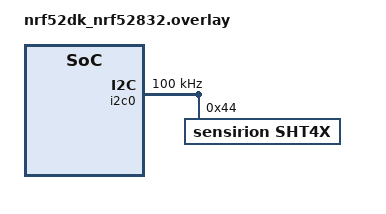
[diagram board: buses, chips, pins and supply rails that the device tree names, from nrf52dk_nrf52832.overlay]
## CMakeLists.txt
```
cmake_minimum_required(VERSION 3.20.0)
find_package(Zephyr REQUIRED HINTS $ENV{ZEPHYR_BASE})

project(FOTA_SHT40)

target_sources(app PRIVATE src/main.c)
target_sources(app PRIVATE src/main.c src/sht40_sensor.c)
```

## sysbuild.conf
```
# STEP 2.1 Enable MCUboot
SB_CONFIG_BOOTLOADER_MCUBOOT=y
```

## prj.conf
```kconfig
CONFIG_NCS_SAMPLES_DEFAULTS=y

CONFIG_BT=y
CONFIG_BT_PERIPHERAL=y
CONFIG_BT_DEVICE_NAME="FOTA_SHT40"

# Enable the LBS service
CONFIG_BT_LBS=y
CONFIG_BT_LBS_POLL_BUTTON=y
CONFIG_DK_LIBRARY=y

CONFIG_SYSTEM_WORKQUEUE_STACK_SIZE=2048
CONFIG_NCS_SAMPLE_MCUMGR_BT_OTA_DFU=y

CONFIG_CBPRINTF_FP_SUPPORT=y
CONFIG_I2C=y
CONFIG_SENSOR=y
CONFIG_SHT4X=y
```

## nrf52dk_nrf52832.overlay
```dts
&i2c0 {
    compatible = "nordic,nrf-twim"; // Ensure this matches the I2C peripheral on your Nordic SoC
    status = "okay";
    clock-frequency = <I2C_BITRATE_STANDARD>; // Set the I2C bus speed to standard rate (100 kHz)

    sht4x@44 {  // Node for the SHT4x sensor with I2C address 0x44
        compatible = "sensirion,sht4x"; // SHT4x sensor compatible string
        reg = <0x44>;                   // I2C address of the SHT4x sensor
        label = "SHT4X";                // Optional label for the sensor
        status = "okay";                // Enable the sensor
        repeatability = <2>;            // Sensor repeatability setting (if applicable)
    };
};
```

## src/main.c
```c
#include <zephyr/kernel.h>
#include <zephyr/sys/printk.h>
#include <zephyr/device.h>
#include <zephyr/drivers/gpio.h>

#include <zephyr/bluetooth/bluetooth.h>
#include <zephyr/bluetooth/hci.h>
#include <zephyr/bluetooth/conn.h>
#include <zephyr/bluetooth/gatt.h>

#include <zephyr/settings/settings.h>
#include <dk_buttons_and_leds.h>
#include "sht40_sensor.h"

#define CON_STATUS_LED DK_LED2

#define DEVICE_NAME CONFIG_BT_DEVICE_NAME
#define DEVICE_NAME_LEN (sizeof(DEVICE_NAME) - 1)

static const struct bt_data ad[] = {
    BT_DATA_BYTES(BT_DATA_FLAGS, (BT_LE_AD_GENERAL | BT_LE_AD_NO_BREDR)),
    BT_DATA(BT_DATA_NAME_COMPLETE, DEVICE_NAME, DEVICE_NAME_LEN),
};

static void connected(struct bt_conn *conn, uint8_t err)
{
    if (err)
    {
        printk("Connection failed (err %u)\n", err);
        return;
    }

    printk("Connected\n");
    dk_set_led_on(CON_STATUS_LED);
}

static void disconnected(struct bt_conn *conn, uint8_t reason)
{
    printk("Disconnected (reason %u)\n", reason);
    dk_set_led_off(CON_STATUS_LED);
}

BT_CONN_CB_DEFINE(conn_callbacks) = {
    .connected = connected,
    .disconnected = disconnected,
};

int main(void)
{
    int err;

    printk("Starting Bluetooth FOTA example with LED indication\n");

    err = dk_leds_init();
    if (err)
    {
        printk("LED init failed (err %d)\n", err);
        return 0;
    }

    err = bt_enable(NULL);
    if (err)
    {
        printk("Bluetooth init failed (err %d)\n", err);
        return 0;
    }

    printk("Bluetooth initialized\n");

    if (IS_ENABLED(CONFIG_SETTINGS))
    {
        settings_load();
    }

    err = bt_le_adv_start(BT_LE_ADV_CONN, ad, ARRAY_SIZE(ad), NULL, 0);
    if (err)
    {
        printk("Advertising failed to start (err %d)\n", err);
        return 0;
    }
    printk("Advertising successfully started\n");
    printk("BLE FOTA Ready by Ashutosh.......................\n");

    sht40_sensor_init();

    while (1)
    {
        sht40_sensor_read_and_print();
    }
}
```

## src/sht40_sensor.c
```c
#include "sht40_sensor.h"
#include <zephyr/kernel.h>
#include <zephyr/device.h>
#include <zephyr/drivers/sensor.h>
#include <stdio.h>

#define SLEEP_TIME_MS 1000

static const struct device *sht;

void sht40_sensor_init(void)
{
    sht = DEVICE_DT_GET_ANY(sensirion_sht4x);

    if (!device_is_ready(sht)) {
        printf("Device %s is not ready\n", sht ? sht->name : "NULL");
        // You may choose to handle error state here (e.g. return error code)
    }
}

void sht40_sensor_read_and_print(void)
{
    struct sensor_value temp, hum;

    if (sensor_sample_fetch(sht) == 0) {
        sensor_channel_get(sht, SENSOR_CHAN_AMBIENT_TEMP, &temp);
        sensor_channel_get(sht, SENSOR_CHAN_HUMIDITY, &hum);

        printf("SHT40: Temperature: %.2f°C Humidity: %.2f%%RH\n",
            sensor_value_to_double(&temp), sensor_value_to_double(&hum));
    } else {
        printf("Error: Failed to fetch sensor data\n");
    }
    
    k_msleep(SLEEP_TIME_MS);
}
```

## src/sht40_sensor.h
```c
#ifndef SHT40_SENSOR_H
#define SHT40_SENSOR_H

void sht40_sensor_init(void);
void sht40_sensor_read_and_print(void);

#endif 
```
